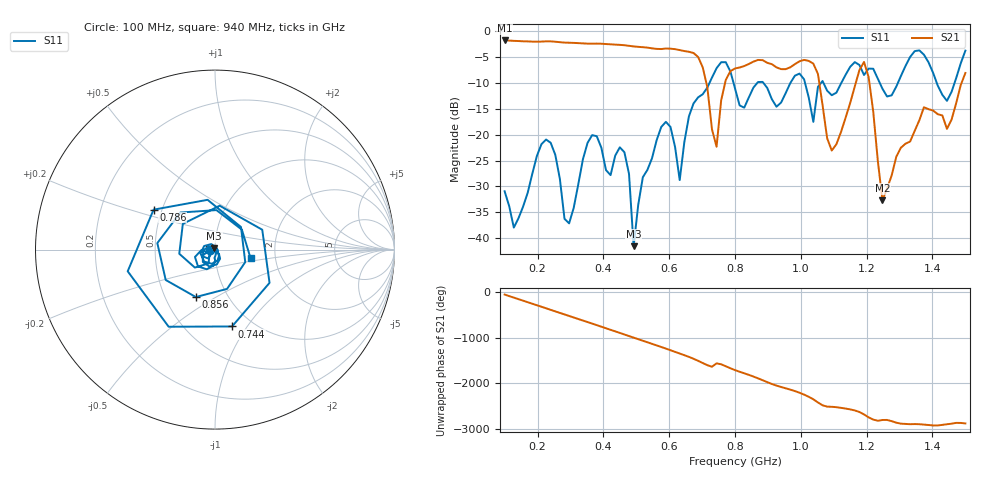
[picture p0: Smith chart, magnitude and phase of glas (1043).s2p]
! NanoVNA-App
! Date: 2025-09-25 16:03:35
! Start: 100MHz Stop: 1,5GHz Points: 101
! S-Parameter data: F S11 S21 S12 S22
# Hz S RI R 50
!  Frequency  S11_Real  S11_Imag  S21_Real  S21_Imag  S12_Real  S12_Imag  S22_Real  S22_Imag
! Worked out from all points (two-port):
!   101 points, 100 MHz to 1.5 GHz, reference 50 ohm
!   highest |S21| = -1.80 dB at 100 MHz (marker M1); lowest = -32.7 dB at 1.248 GHz (marker M2)
!   |S21| within 3 dB of the highest: start of sweep to 684.5 MHz
!   lowest |S11| = -41.5 dB at 492 MHz (marker M3), VSWR 1.02, Z = 49.5 + j0.654 ohm
!   |S11| at or under -10 dB: start of sweep to 722.5 MHz; 795.5 MHz to 867.7 MHz (72.23 MHz wide, 8.68 % of centre); 886.3 MHz to 968.3 MHz (81.98 MHz wide, 8.84 % of centre)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
!   S12 and S22 are empty: the file has one direction only
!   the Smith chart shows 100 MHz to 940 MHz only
!   S11 on the Smith chart (normalised r, x): 100 MHz: 0.94, -0.01; 744 MHz: 0.81, -0.85; 786 MHz: 0.45, +0.24; 856 MHz: 0.71, -0.41; 940 MHz: 1.49, -0.15
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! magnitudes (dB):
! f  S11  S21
! 100 MHz  -30.9  -1.8
! 128 MHz  -37.9  -1.9
! 226 MHz  -20.9  -2.0
! 296 MHz  -37.1  -2.2
! 338 MHz  -24.7  -2.4
! 464 MHz  -23.4  -2.7
! 492 MHz  -41.5  -3.0
! 576 MHz  -18.5  -3.5
! 632 MHz  -28.8  -3.7
! 702 MHz  -12.2  -7.0
! 744 MHz  -7.2  -22.3
! 786 MHz  -7.8  -7.7
! 800 MHz  -11.0  -7.2
! 856 MHz  -10.9  -5.9
! 940 MHz  -13.8  -7.3
! 996 MHz  -8.2  -5.8
! 1.038 GHz  -17.5  -6.3
! 1.094 GHz  -12.4  -23.1
! 1.192 GHz  -8.5  -6.0
! 1.248 GHz  -11.1  -32.7
! 1.276 GHz  -12.4  -27.9
! 1.5 GHz  -3.8  -8.1
